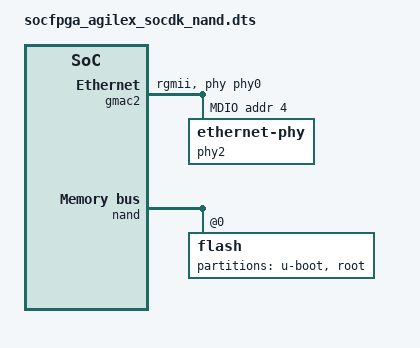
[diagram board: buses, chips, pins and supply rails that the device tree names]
// SPDX-License-Identifier: GPL-2.0
/*
 * Copyright (C) 2025 Altera Corporation <www.altera.com>
 */

#include "socfpga_agilex_socdk.dts"
#include "socfpga_agilex_socdk-u-boot.dtsi"

&gmac0 {
	status = "disabled";
};

&gmac2 {
	status = "okay";
	phy-mode = "rgmii";
	phy-handle = <&phy0>;

	max-frame-size = <3800>;

	mdio2 {
		#address-cells = <1>;
		#size-cells = <0>;
		compatible = "snps,dwmac-mdio";
		phy2: ethernet-phy@2 {
			reg = <4>;

			txd0-skew-ps = <0>; /* -420ps */
			txd1-skew-ps = <0>; /* -420ps */
			txd2-skew-ps = <0>; /* -420ps */
			txd3-skew-ps = <0>; /* -420ps */
			rxd0-skew-ps = <420>; /* 0ps */
			rxd1-skew-ps = <420>; /* 0ps */
			rxd2-skew-ps = <420>; /* 0ps */
			rxd3-skew-ps = <420>; /* 0ps */
			txen-skew-ps = <0>; /* -420ps */
			txc-skew-ps = <1860>; /* 960ps */
			rxdv-skew-ps = <420>; /* 0ps */
			rxc-skew-ps = <1680>; /* 780ps */
		};
	};
};

&mmc {
	status = "disabled";
};

&nand {
	flash@0 {
		partitions {
			compatible = "fixed-partitions";
			#address-cells = <1>;
			#size-cells = <1>;
			partition@0 {
				label = "u-boot";
				reg = <0 0x200000>;
			};
			partition@200000 {
				label = "root";
				reg = <0x200000 0x3fe00000>;
			};
		};
	};
};
